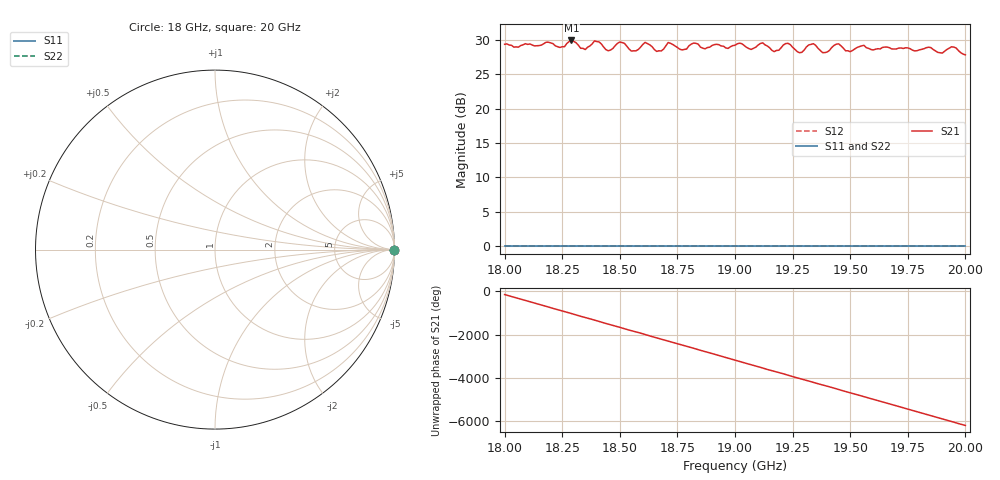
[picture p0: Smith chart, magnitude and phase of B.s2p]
!Agilent N9918A: A.07.57
!Date: Wednesday, 05 August 2020 17:53:58
!Timezone: (GMT-08:00) Pacific Time (US & Canada)
!Model: N9918A
!Serial: MY53103598
!GPS Latitude:
!GPS Longitude:
!GPS TimeStamp: 0001-01-01 00:00:00Z
!GPS Seconds Since Last Read: 0
!CHECKSUM:1882027901
!Correction: S11()S21(Rdy)S12()S22()
!S2P File: Measurements:S11,S21,S12,S22:
# Hz S DB R 50
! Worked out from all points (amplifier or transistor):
!   201 points, 18 GHz to 20 GHz, reference 50 ohm
!   highest |S21| = 29.9 dB at 18.29 GHz (marker M1)
!   |S21| within 3 dB of that: start of sweep to end of sweep
!   unconditionally stable (mu >= 1): nowhere
!   at 18.33 GHz: K = 13.48, MSG = 14.4 dB, |S12| = 0.0 dB
!   at 19 GHz: K = 13.87, MSG = 14.6 dB, |S12| = 0.0 dB
!   at 20 GHz: K = 12.48, MSG = 13.9 dB, |S12| = 0.0 dB
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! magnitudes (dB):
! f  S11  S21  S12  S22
! 18 GHz  0.0  29.4  0.0  0.0
! 18.29 GHz  0.0  29.9  0.0  0.0
! 18.34 GHz  0.0  28.8  0.0  0.0
! 18.39 GHz  0.0  29.8  0.0  0.0
! 18.45 GHz  0.0  28.4  0.0  0.0
! 18.5 GHz  0.0  29.7  0.0  0.0
! 18.57 GHz  0.0  28.4  0.0  0.0
! 18.61 GHz  0.0  29.6  0.0  0.0
! 18.67 GHz  0.0  28.4  0.0  0.0
! 18.71 GHz  0.0  29.6  0.0  0.0
! 18.77 GHz  0.0  28.6  0.0  0.0
! 19 GHz  0.0  29.2  0.0  0.0
! 19.12 GHz  0.0  29.6  0.0  0.0
! 19.17 GHz  0.0  28.3  0.0  0.0
! 19.23 GHz  0.0  29.5  0.0  0.0
! 19.28 GHz  0.0  28.1  0.0  0.0
! 19.34 GHz  0.0  29.5  0.0  0.0
! 19.38 GHz  0.0  28.2  0.0  0.0
! 19.45 GHz  0.0  29.4  0.0  0.0
! 19.5 GHz  0.0  28.3  0.0  0.0
! 19.67 GHz  0.0  28.9  0.0  0.0
! 20 GHz  0.0  27.8  0.0  0.0
